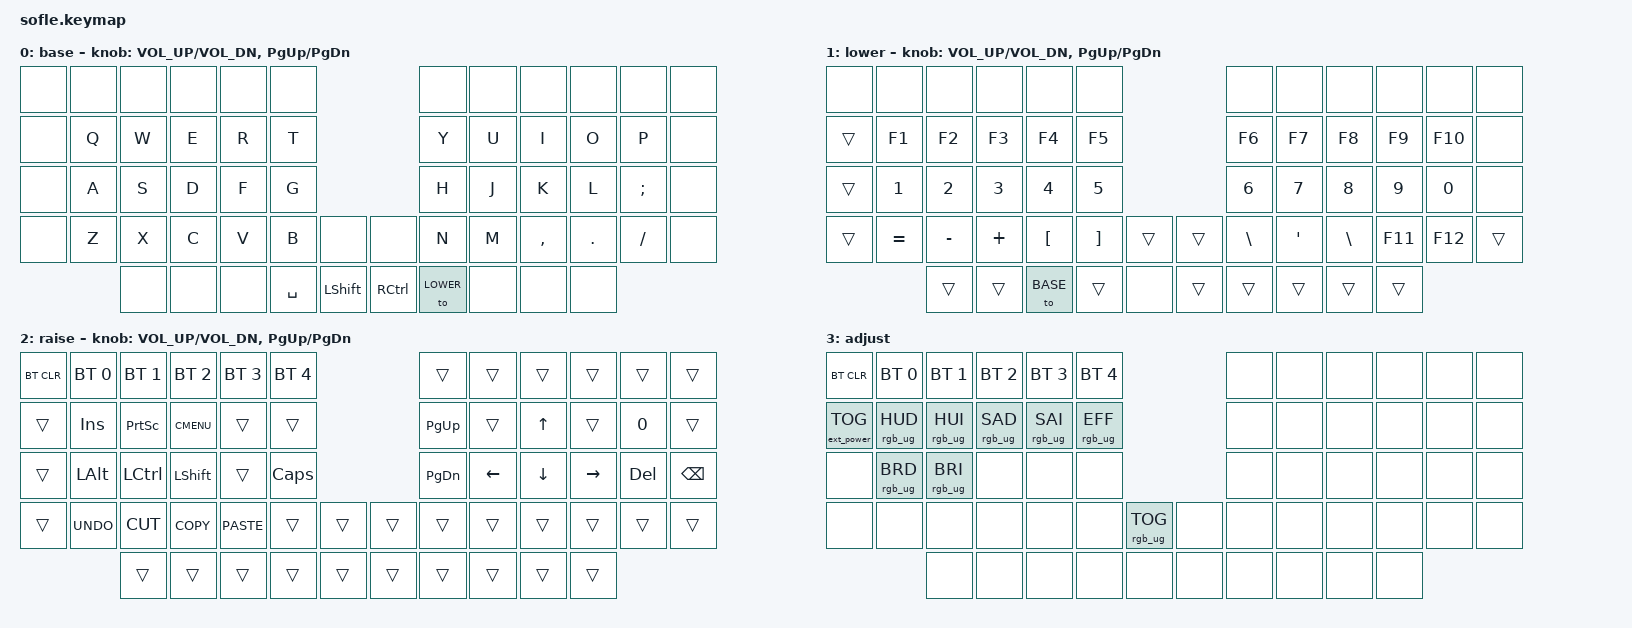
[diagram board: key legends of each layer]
/*
 * Copyright (c) 2020 The ZMK Contributors
 *
 * SPDX-License-Identifier: MIT
 */

#include <behaviors.dtsi>
#include <dt-bindings/zmk/bt.h>
#include <dt-bindings/zmk/ext_power.h>
#include <dt-bindings/zmk/keys.h>
#include <dt-bindings/zmk/rgb.h>

#define BASE 0
#define LOWER 1
#define RAISE 2
#define ADJUST 3

/ {
    // Activate ADJUST layer by pressing raise and lower

    conditional_layers {
        compatible = "zmk,conditional-layers";

        adjust_layer {
            if-layers = <LOWER RAISE>;
            then-layer = <ADJUST>;
        };
    };

    keymap {
        compatible = "zmk,keymap";

        base_layer {
            display-name = "base";

            // ------------------------------------------------------------------------------------------------------------
            // |       |     |     |      |      |      |                   |      |       |       |      |       |       |
            // |       |  Q  |  W  |  E   |  R   |  T   |                   |  Y   |   U   |  I    |  O   |   P   |       |
            // |       |  A  |  S  |  D   |  F   |  G   |                   |  H   |   J   |  K    |  L   |   ;   |       |
            // |       |  Z  |  X  |  C   |  V   |  B   |        |  |       |  N   |   M   |  ,    |  .   |   /   |       |
            //               |     |      |      | SPACE|  SHIFT |  | CTRL  | LOWER|       |       |      |

            bindings = <
&none  &none  &none  &none  &none  &none                                      &none      &none  &none      &none    &none     &none
&none  &kp Q  &kp W  &kp E  &kp R  &kp T                                      &kp Y      &kp U  &kp I      &kp O    &kp P     &none
&none  &kp A  &kp S  &kp D  &kp F  &kp G                                      &kp H      &kp J  &kp K      &kp L    &kp SEMI  &none
&none  &kp Z  &kp X  &kp C  &kp V  &kp B      &none        &none              &kp N      &kp M  &kp COMMA  &kp DOT  &kp FSLH  &none
              &none  &none  &none  &kp SPACE  &kp LSHFT    &kp RIGHT_CONTROL  &to LOWER  &none  &none      &none
            >;

            sensor-bindings = <&inc_dec_kp C_VOL_UP C_VOL_DN &inc_dec_kp PG_UP PG_DN>;
        };

        lower_layer {
            display-name = "lower";

            // TODO: Some binds are waiting for shifted keycode support.
            // ------------------------------------------------------------------------------------------------------------
            // |       |     |     |      |      |      |                   |      |       |       |      |       |       |
            // |       |  F1 |  F2 |  F3  |  F4  |  F5  |                   |  F6  |  F7   |  F8   |  F9  |  F10  |       |
            // |       |  1  |  2  |  3   |  4   |  5   |                   |  6   |  7    |  8    |  9   |   0   |       |
            // |       |  =  |  -  |  +   |  [   |  ]   |        |  |       |  \3  |  '    |  \    |  F11 |   F12 |       |
            //               |     |      |      | BASE |        |  |       |  ALT |       |       |      |

            bindings = <
&none   &none      &none      &none     &none     &none                       &none     &none    &none     &none    &none    &none
&trans  &kp F1     &kp F2     &kp F3    &kp F4    &kp F5                      &kp F6    &kp F7   &kp F8    &kp F9   &kp F10  &none
&trans  &kp N1     &kp N2     &kp N3    &kp N4    &kp N5                      &kp N6    &kp N7   &kp N8    &kp N9   &kp N0   &none
&trans  &kp EQUAL  &kp MINUS  &kp PLUS  &kp LBKT  &kp RBKT  &trans    &trans  &kp BSLH  &kp SQT  &kp BSLH  &kp F11  &kp F12  &trans
                   &trans     &trans    &to BASE  &trans    &none     &trans  &trans    &trans   &trans    &trans
            >;

            sensor-bindings = <&inc_dec_kp C_VOL_UP C_VOL_DN &inc_dec_kp PG_UP PG_DN>;
        };

        raise_layer {
            display-name = "raise";

            // ------------------------------------------------------------------------------------------------------------
            // | BTCLR | BT1  | BT2  |  BT3  |  BT4  |  BT5 |                |      |      |       |      |       |       |
            // |       | INS  | PSCR | GUI   |       |      |                | PGUP |      |   ^   |      |       |       |
            // |       | ALT  | CTRL | SHIFT |       | CAPS |                | PGDN |   <- |   v   |  ->  |  DEL  | BKSPC |
            // |       | UNDO | CUT  | COPY  | PASTE |      |      |  |      |      |      |       |      |       |       |
            //                |      |       |       |      |      |  |      |      |      |       |      |

            bindings = <
&bt BT_CLR  &bt BT_SEL 0  &bt BT_SEL 1  &bt BT_SEL 2  &bt BT_SEL 3  &bt BT_SEL 4                    &trans     &trans    &trans    &trans     &trans   &trans
&trans      &kp INS       &kp PSCRN     &kp K_CMENU   &trans        &trans                          &kp PG_UP  &trans    &kp UP    &trans     &kp N0   &trans
&trans      &kp LALT      &kp LCTRL     &kp LSHFT     &trans        &kp CLCK                        &kp PG_DN  &kp LEFT  &kp DOWN  &kp RIGHT  &kp DEL  &kp BSPC
&trans      &kp K_UNDO    &kp K_CUT     &kp K_COPY    &kp K_PASTE   &trans        &trans    &trans  &trans     &trans    &trans    &trans     &trans   &trans
                          &trans        &trans        &trans        &trans        &trans    &trans  &trans     &trans    &trans    &trans
            >;

            sensor-bindings = <&inc_dec_kp C_VOL_UP C_VOL_DN &inc_dec_kp PG_UP PG_DN>;
        };

        adjust_layer {
            // ----------------------------------------------------------------------------------------------------------------------------
            // | BTCLR  |  BT1    |  BT2    |   BT3   |   BT4   |   BT5   |                  |      |      |       |      |       |       |
            // | EXTPWR | RGB_HUD | RGB_HUI | RGB_SAD | RGB_SAI | RGB_EFF |                  |      |      |       |      |       |       |
            // |        | RGB_BRD | RGB_BRI |         |         |         |                  |      |      |       |      |       |       |
            // |        |         |         |         |         |         | RGB_TOG | |      |      |      |       |      |       |       |
            //                    |         |         |         |         |         | |      |      |      |       |      |

            display-name = "adjust";
            bindings = <
&bt BT_CLR         &bt BT_SEL 0     &bt BT_SEL 1     &bt BT_SEL 2     &bt BT_SEL 3     &bt BT_SEL 4                               &none  &none  &none  &none  &none  &none
&ext_power EP_TOG  &rgb_ug RGB_HUD  &rgb_ug RGB_HUI  &rgb_ug RGB_SAD  &rgb_ug RGB_SAI  &rgb_ug RGB_EFF                            &none  &none  &none  &none  &none  &none
&none              &rgb_ug RGB_BRD  &rgb_ug RGB_BRI  &none            &none            &none                                      &none  &none  &none  &none  &none  &none
&none              &none            &none            &none            &none            &none            &rgb_ug RGB_TOG    &none  &none  &none  &none  &none  &none  &none
                                    &none            &none            &none            &none            &none              &none  &none  &none  &none  &none
            >;
        };
    };
};
